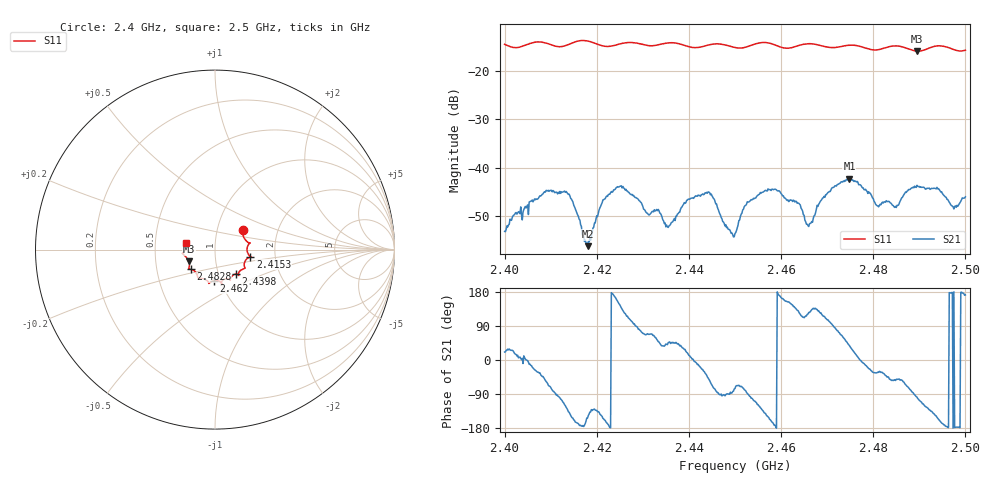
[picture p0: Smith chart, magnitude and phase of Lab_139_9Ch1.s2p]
# Hz S RI R 50
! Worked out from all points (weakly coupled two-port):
!   601 points, 2.4 GHz to 2.5 GHz, reference 50 ohm
!   highest |S21| = -42.26 dB at 2.4748 GHz (marker M1); lowest = -56.2 dB at 2.418 GHz (marker M2)
!   lowest |S11| = -15.9 dB at 2.4895 GHz (marker M3), VSWR 1.38, Z = 37 - j5.01 ohm
!   |S11| at or under -10 dB: start of sweep to end of sweep
!   S12 and S22 are empty: the file has one direction only
!   S11 on the Smith chart (normalised r, x): 2.4 GHz: 1.33, +0.30; 2.4153 GHz: 1.48, -0.12; 2.4398 GHz: 1.21, -0.34; 2.462 GHz: 0.93, -0.33; 2.4828 GHz: 0.74, -0.17; 2.5 GHz: 0.72, +0.06
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2.4e9  0.1553 0.1072  0.00205 0.000789  0 0  0 0
2.409e9  0.1917 0.0341  0.00319 -0.00487  0 0  0 0
2.415333e9  0.1963 -0.0386  -0.00363 -0.00107  0 0  0 0
2.416667e9  0.202 -0.0428  -0.00246 -0.000249  0 0  0 0
2.418e9  0.2 -0.0418  -0.00138 -0.000702  0 0  0 0
2.421167e9  0.1739 -0.0553  -0.00372 -0.00225  0 0  0 0
2.424667e9  0.1637 -0.0936  -0.00558 0.00296  0 0  0 0
2.433333e9  0.1307 -0.1333  0.00246 0.00278  0 0  0 0
2.4355e9  0.1317 -0.144  0.00169 0.00173  0 0  0 0
2.439833e9  0.1158 -0.1363  0.00456 0.00128  0 0  0 0
2.444667e9  0.0849 -0.1673  0.00272 -0.0045  0 0  0 0
2.45e9  0.0647 -0.1627  0.000531 -0.00203  0 0  0 0
2.452167e9  0.0431 -0.1701  0.000739 -0.00399  0 0  0 0
2.456e9  0.0384 -0.1932  -0.00382 -0.00408  0 0  0 0
2.462e9  -0.00511 -0.1733  -0.00402 0.00237  0 0  0 0
2.466667e9  -0.0345 -0.188  -0.0019 0.00204  0 0  0 0
2.474833e9  -0.0917 -0.1603  0.00608 0.00474  0 0  0 0
2.482833e9  -0.1364 -0.1096  0.0034 -0.00306  0 0  0 0
2.483333e9  -0.1401 -0.1094  0.00316 -0.00321  0 0  0 0
2.4895e9  -0.146 -0.066  -0.000935 -0.00653  0 0  0 0
2.4975e9  -0.1665 -0.00142  -0.00375 2.06e-06  0 0  0 0
2.5e9  -0.1594 0.0388  -0.00496 0.000718  0 0  0 0
